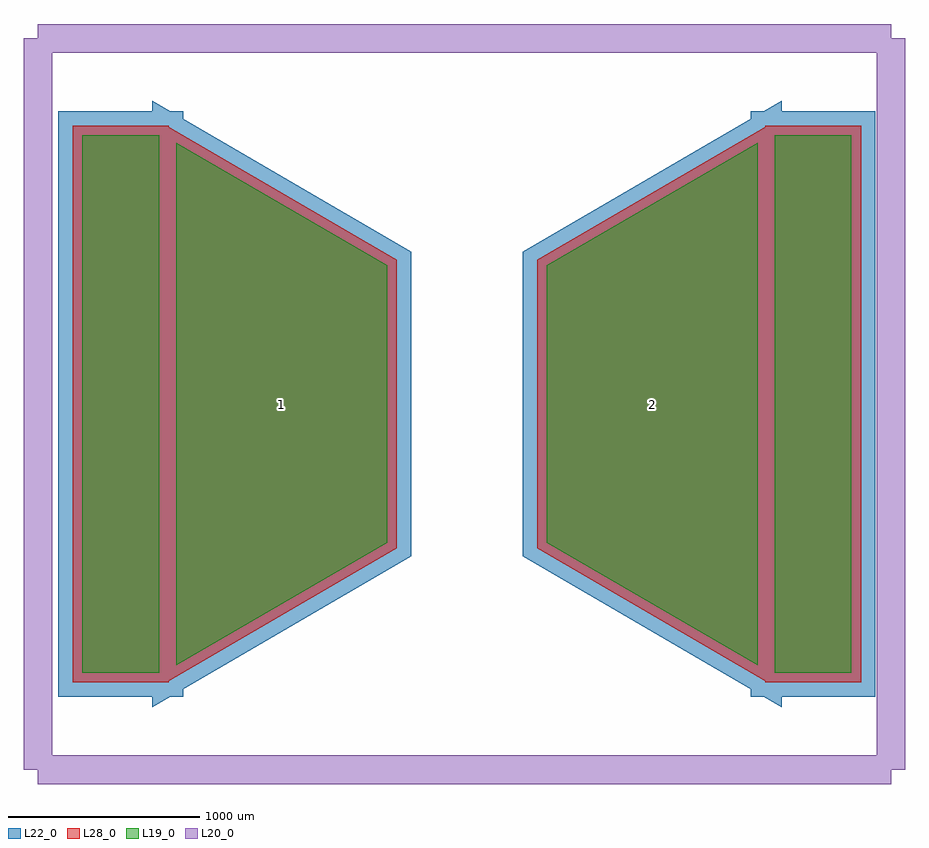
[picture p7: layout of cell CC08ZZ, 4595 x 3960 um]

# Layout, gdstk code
import gdstk
lib = gdstk.Library(unit=1e-6, precision=1e-09)
def R(c, l, rs):  # rectangles x0, y0, x1, y1
    for r in rs: c.add(gdstk.rectangle(r[:2], r[2:], *l))
def P(c, l, *ps):  # polygons
    for p in ps: c.add(gdstk.Polygon(p, *l))
L19_0 = (19, 0)
L20_0 = (20, 0)
L22_0 = (22, 0)
L28_0 = (28, 0)

cc08zz = lib.new_cell('CC08ZZ')
R(cc08zz, L19_0, [(-2308.39,-1400.34,-1908.01,1400.34), (1298.41,-1400.34,1698.79,1400.34)])
P(cc08zz, L19_0, [(110.96,-721.834),(110.96,721.834),(1209.84,1362.071),(1209.84,-1362.071)],
  [(-1819.44,-1362.071),(-1819.44,1362.071),(-720.56,721.834),(-720.56,-721.834)])
R(cc08zz, L22_0, [(-2433.39,-1525.34,-1783.01,1525.34), (1173.41,-1525.34,1823.79,1525.34)])
P(cc08zz, L22_0, [(-14.04,-793.674),(-14.04,793.674),(1334.84,1579.568),(1334.84,-1579.568)],
  [(-1944.44,-1579.568),(-1944.44,1579.568),(-595.56,793.674),(-595.56,-793.674)])
R(cc08zz, L28_0, [(-2358.39,-1450.34,-1858.01,1450.34), (1248.41,-1450.34,1748.79,1450.34)])
P(cc08zz, L28_0, [(60.96,-750.57),(60.96,750.57),(1259.84,1449.07),(1259.84,-1449.07)],
  [(-1869.44,-1449.07),(-1869.44,1449.07),(-670.56,750.57),(-670.56,-750.57)])
cc08zz.add(gdstk.FlexPath([(-2540,1905),(1905,1905)], 149.998, ends="flush", simple_path=True, layer=20, datatype=0))  # L20_0
cc08zz.add(gdstk.FlexPath([(-2540,-1905),(1905,-1905)], 149.998, ends="flush", simple_path=True, layer=20, datatype=0))  # L20_0
cc08zz.add(gdstk.FlexPath([(1905,1905),(1905,-1905)], 149.998, ends="flush", simple_path=True, layer=20, datatype=0))  # L20_0
cc08zz.add(gdstk.FlexPath([(-2540,-1905),(-2540,1905)], 149.998, ends="flush", simple_path=True, layer=20, datatype=0))  # L20_0
cc08zz.add(gdstk.FlexPath([(-2540,-1270),(-2540,1270)], 149.998, ends="flush", simple_path=True, layer=20, datatype=0))  # L20_0
cc08zz.add(gdstk.Label('2', (660.4,0), layer=28, texttype=0))
cc08zz.add(gdstk.Label('1', (-1270,0), layer=28, texttype=0))
cc08zz.add(gdstk.Label('type', (-254,-2667), layer=9, texttype=0))
cc08zz.add(gdstk.Label('devicename', (-381,2667), layer=9, texttype=0))

lib.write_gds('CC08ZZ.gds')
